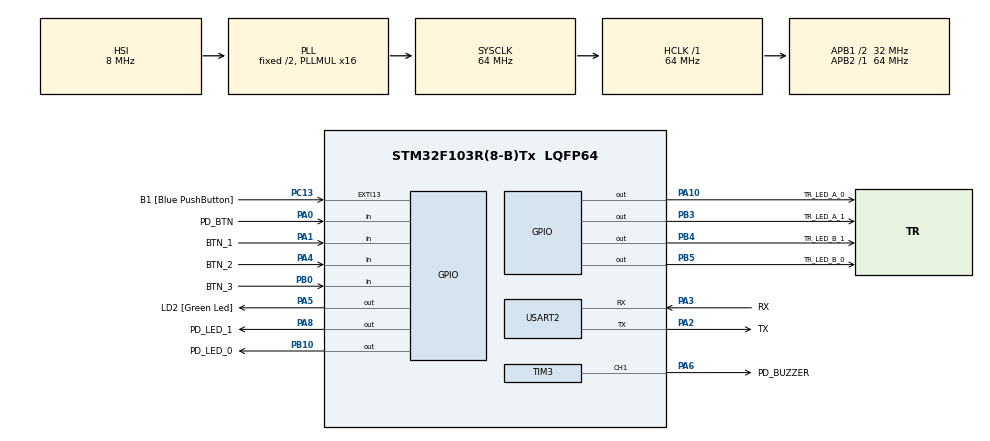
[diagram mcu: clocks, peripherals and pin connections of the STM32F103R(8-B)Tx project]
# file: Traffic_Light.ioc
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Mcu.Family=STM32F1
Mcu.Name=STM32F103R(8-B)Tx
Mcu.Package=LQFP64
NVIC.EXTI15_10_IRQn=true\:0\:0\:false\:false\:true\:true\:true
NVIC.PriorityGroup=NVIC_PRIORITYGROUP_4
NVIC.TIM2_IRQn=true\:0\:0\:false\:false\:true\:true\:true
PA0-WKUP.GPIO_Label=PD_BTN
PA0-WKUP.GPIO_PuPd=GPIO_PULLUP
PA0-WKUP.Signal=GPIO_Input
PA1.GPIO_Label=BTN_1
PA1.GPIO_PuPd=GPIO_PULLUP
PA1.Signal=GPIO_Input
PA10.GPIO_Label=TR_LED_A_0
PA10.Signal=GPIO_Output
PA13.GPIO_Label=TMS
PA13.Mode=Serial_Wire
PA13.Signal=SYS_JTMS-SWDIO
PA14.GPIO_Label=TCK
PA14.Mode=Serial_Wire
PA14.Signal=SYS_JTCK-SWCLK
PA2.GPIO_Label=TX
PA2.GPIO_Mode=GPIO_MODE_AF_PP
PA2.GPIO_PuPd=GPIO_NOPULL
PA2.GPIO_Speed=GPIO_SPEED_FREQ_LOW
PA2.Mode=Asynchronous
PA2.Signal=USART2_TX
PA3.GPIO_Label=RX
PA3.GPIO_Mode=GPIO_MODE_AF_PP
PA3.GPIO_PuPd=GPIO_NOPULL
PA3.GPIO_Speed=GPIO_SPEED_FREQ_LOW
PA3.Mode=Asynchronous
PA3.Signal=USART2_RX
PA4.GPIO_Label=BTN_2
PA4.GPIO_PuPd=GPIO_PULLUP
PA4.Signal=GPIO_Input
PA5.GPIO_Label=LD2 [Green Led]
PA5.GPIO_ModeDefaultOutputPP=GPIO_MODE_OUTPUT_PP
PA5.GPIO_PuPd=GPIO_NOPULL
PA5.GPIO_Speed=GPIO_SPEED_FREQ_LOW
PA5.Signal=GPIO_Output
PA6.GPIO_Label=PD_BUZZER
PA6.Signal=S_TIM3_CH1
PA8.GPIO_Label=PD_LED_1
PA8.Signal=GPIO_Output
PB0.GPIO_Label=BTN_3
PB0.GPIO_PuPd=GPIO_PULLUP
PB0.Signal=GPIO_Input
PB10.GPIO_Label=PD_LED_0
PB10.Signal=GPIO_Output
PB3.GPIO_Label=TR_LED_A_1
PB3.Signal=GPIO_Output
PB4.GPIO_Label=TR_LED_B_1
PB4.Signal=GPIO_Output
PB5.GPIO_Label=TR_LED_B_0
PB5.Signal=GPIO_Output
PC13-TAMPER-RTC.GPIO_Label=B1 [Blue PushButton]
PC13-TAMPER-RTC.GPIO_PuPd=GPIO_NOPULL
PC13-TAMPER-RTC.Signal=GPXTI13
PC14-OSC32_IN.Mode=LSE-External-Oscillator
PC14-OSC32_IN.Signal=RCC_OSC32_IN
PC15-OSC32_OUT.Mode=LSE-External-Oscillator
PC15-OSC32_OUT.Signal=RCC_OSC32_OUT
PD0-OSC_IN.Mode=HSE-External-Clock-Source
PD0-OSC_IN.Signal=RCC_OSC_IN
PD1-OSC_OUT.Mode=HSE-External-Clock-Source
PD1-OSC_OUT.Signal=RCC_OSC_OUT
ProjectManager.HeapSize=0x200
ProjectManager.StackSize=0x400
ProjectManager.TargetToolchain=STM32CubeIDE
RCC.AHBFreq_Value=64000000
RCC.APB1CLKDivider=RCC_HCLK_DIV2
RCC.APB1Freq_Value=32000000
RCC.APB1TimFreq_Value=64000000
RCC.APB2Freq_Value=64000000
RCC.APB2TimFreq_Value=64000000
RCC.HCLKFreq_Value=64000000
RCC.PLLMUL=RCC_PLL_MUL16
RCC.RTCClockSelection=RCC_RTCCLKSOURCE_LSE
RCC.SYSCLKFreq_VALUE=64000000
RCC.SYSCLKSource=RCC_SYSCLKSOURCE_PLLCLK
RCC.USBFreq_Value=64000000
SH.S_TIM3_CH1.0=TIM3_CH1,PWM Generation1 CH1
TIM2.Period=9999
TIM2.Prescaler=63
TIM3.Channel-PWM\ Generation1\ CH1=TIM_CHANNEL_1
TIM3.Period=999
TIM3.Prescaler=63
USART2.VirtualMode=VM_ASYNC
VP_TIM2_VS_ClockSourceINT.Mode=Internal
VP_TIM3_VS_ClockSourceINT.Mode=Internal
board=NUCLEO-F103RB

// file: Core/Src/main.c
/* USER CODE BEGIN Header */
/**
  ******************************************************************************
  * @file           : main.c
  * @brief          : Main program body
  ******************************************************************************
  * @attention
  *
  * <h2><center>&copy; Copyright (c) 2022 STMicroelectronics.
  * All rights reserved.</center></h2>
  *
  * This software component is licensed by ST under BSD 3-Clause license,
  * the "License"; You may not use this file except in compliance with the
  * License. You may obtain a copy of the License at:
  *                        opensource.org/licenses/BSD-3-Clause
  *
  ******************************************************************************
  */
/* USER CODE END Header */
#include "main.h"

/* USER CODE BEGIN Includes */
#include "u_global.h"
#include "u_test_IO.h"
#include "u_fsm_traffic.h"
#include "u_fsm_pedestrian.h"
/* USER CODE END Includes */

TIM_HandleTypeDef htim2;
//TIM_HandleTypeDef htim3;

//UART_HandleTypeDef huart2;

void SystemClock_Config(void);
static void MX_GPIO_Init(void);
static void MX_USART2_UART_Init(void);
static void MX_TIM2_Init(void);
static void MX_TIM3_Init(void);

int main(void)
{

  /* MCU Configuration--------------------------------------------------------*/

  /* Reset of all peripherals, Initializes the Flash interface and the Systick. */
  HAL_Init();

  /* Configure the system clock */
  SystemClock_Config();

  /* Initialize all configured peripherals */
  MX_GPIO_Init();
  MX_USART2_UART_Init();
  MX_TIM2_Init();
  MX_TIM3_Init();
  /* USER CODE BEGIN 2 */
  HAL_TIM_Base_Start_IT(&htim2);
  HAL_TIM_PWM_Start(&htim3, TIM_CHANNEL_1);
  timer_init();
  traffic_init();
  pedestrian_init();
  /* USER CODE END 2 */

  /* Infinite loop */
  while (1)
  {

    /* USER CODE BEGIN 3 */
	  traffic_fsm();
	  pedestrian_fsm();
//	  test_button();
  }
  /* USER CODE END 3 */
}

void SystemClock_Config(void)
{
  RCC_OscInitTypeDef RCC_OscInitStruct = {0};
  RCC_ClkInitTypeDef RCC_ClkInitStruct = {0};

  /** Initializes the RCC Oscillators according to the specified parameters
  * in the RCC_OscInitTypeDef structure.
  */
  RCC_OscInitStruct.OscillatorType = RCC_OSCILLATORTYPE_HSI;
  RCC_OscInitStruct.HSIState = RCC_HSI_ON;
  RCC_OscInitStruct.HSICalibrationValue = RCC_HSICALIBRATION_DEFAULT;
  RCC_OscInitStruct.PLL.PLLState = RCC_PLL_ON;
  RCC_OscInitStruct.PLL.PLLSource = RCC_PLLSOURCE_HSI_DIV2;
  RCC_OscInitStruct.PLL.PLLMUL = RCC_PLL_MUL16;
  if (HAL_RCC_OscConfig(&RCC_OscInitStruct) != HAL_OK)
  {
    Error_Handler();
  }
  /** Initializes the CPU, AHB and APB buses clocks
  */
  RCC_ClkInitStruct.ClockType = RCC_CLOCKTYPE_HCLK|RCC_CLOCKTYPE_SYSCLK
                              |RCC_CLOCKTYPE_PCLK1|RCC_CLOCKTYPE_PCLK2;
  RCC_ClkInitStruct.SYSCLKSource = RCC_SYSCLKSOURCE_PLLCLK;
  RCC_ClkInitStruct.AHBCLKDivider = RCC_SYSCLK_DIV1;
  RCC_ClkInitStruct.APB1CLKDivider = RCC_HCLK_DIV2;
  RCC_ClkInitStruct.APB2CLKDivider = RCC_HCLK_DIV1;

  if (HAL_RCC_ClockConfig(&RCC_ClkInitStruct, FLASH_LATENCY_2) != HAL_OK)
  {
    Error_Handler();
  }
}

static void MX_TIM2_Init(void)
{

  TIM_ClockConfigTypeDef sClockSourceConfig = {0};
  TIM_MasterConfigTypeDef sMasterConfig = {0};

  htim2.Instance = TIM2;
  htim2.Init.Prescaler = 63;
  htim2.Init.CounterMode = TIM_COUNTERMODE_UP;
  htim2.Init.Period = 9999;
  htim2.Init.ClockDivision = TIM_CLOCKDIVISION_DIV1;
  htim2.Init.AutoReloadPreload = TIM_AUTORELOAD_PRELOAD_DISABLE;
  if (HAL_TIM_Base_Init(&htim2) != HAL_OK)
  {
    Error_Handler();
  }
  sClockSourceConfig.ClockSource = TIM_CLOCKSOURCE_INTERNAL;
  if (HAL_TIM_ConfigClockSource(&htim2, &sClockSourceConfig) != HAL_OK)
  {
    Error_Handler();
  }
  sMasterConfig.MasterOutputTrigger = TIM_TRGO_RESET;
  sMasterConfig.MasterSlaveMode = TIM_MASTERSLAVEMODE_DISABLE;
  if (HAL_TIMEx_MasterConfigSynchronization(&htim2, &sMasterConfig) != HAL_OK)
  {
    Error_Handler();
  }

}

static void MX_TIM3_Init(void)
{

  TIM_ClockConfigTypeDef sClockSourceConfig = {0};
  TIM_MasterConfigTypeDef sMasterConfig = {0};
  TIM_OC_InitTypeDef sConfigOC = {0};

  htim3.Instance = TIM3;
  htim3.Init.Prescaler = 63;
  htim3.Init.CounterMode = TIM_COUNTERMODE_UP;
  htim3.Init.Period = 999;
  htim3.Init.ClockDivision = TIM_CLOCKDIVISION_DIV1;
  htim3.Init.AutoReloadPreload = TIM_AUTORELOAD_PRELOAD_DISABLE;
  if (HAL_TIM_Base_Init(&htim3) != HAL_OK)
  {
    Error_Handler();
  }
  sClockSourceConfig.ClockSource = TIM_CLOCKSOURCE_INTERNAL;
  if (HAL_TIM_ConfigClockSource(&htim3, &sClockSourceConfig) != HAL_OK)
  {
    Error_Handler();
  }
  if (HAL_TIM_PWM_Init(&htim3) != HAL_OK)
  {
    Error_Handler();
  }
  sMasterConfig.MasterOutputTrigger = TIM_TRGO_RESET;
  sMasterConfig.MasterSlaveMode = TIM_MASTERSLAVEMODE_DISABLE;
  if (HAL_TIMEx_MasterConfigSynchronization(&htim3, &sMasterConfig) != HAL_OK)
  {
    Error_Handler();
  }
  sConfigOC.OCMode = TIM_OCMODE_PWM1;
  sConfigOC.Pulse = 0;
  sConfigOC.OCPolarity = TIM_OCPOLARITY_HIGH;
  sConfigOC.OCFastMode = TIM_OCFAST_DISABLE;
  if (HAL_TIM_PWM_ConfigChannel(&htim3, &sConfigOC, TIM_CHANNEL_1) != HAL_OK)
  {
    Error_Handler();
  }
  HAL_TIM_MspPostInit(&htim3);

}

static void MX_USART2_UART_Init(void)
{

  huart2.Instance = USART2;
  huart2.Init.BaudRate = 115200;
  huart2.Init.WordLength = UART_WORDLENGTH_8B;
  huart2.Init.StopBits = UART_STOPBITS_1;
  huart2.Init.Parity = UART_PARITY_NONE;
  huart2.Init.Mode = UART_MODE_TX_RX;
  huart2.Init.HwFlowCtl = UART_HWCONTROL_NONE;
  huart2.Init.OverSampling = UART_OVERSAMPLING_16;
  if (HAL_UART_Init(&huart2) != HAL_OK)
  {
    Error_Handler();
  }

}

static void MX_GPIO_Init(void)
{
  GPIO_InitTypeDef GPIO_InitStruct = {0};

  /* GPIO Ports Clock Enable */
  __HAL_RCC_GPIOC_CLK_ENABLE();
  __HAL_RCC_GPIOD_CLK_ENABLE();
  __HAL_RCC_GPIOA_CLK_ENABLE();
  __HAL_RCC_GPIOB_CLK_ENABLE();

  /*Configure GPIO pin Output Level */
  HAL_GPIO_WritePin(GPIOA, LD2_Pin|PD_LED_1_Pin|TR_LED_A_0_Pin, GPIO_PIN_RESET);

  /*Configure GPIO pin Output Level */
  HAL_GPIO_WritePin(GPIOB, PD_LED_0_Pin|TR_LED_A_1_Pin|TR_LED_B_1_Pin|TR_LED_B_0_Pin, GPIO_PIN_RESET);

  /*Configure GPIO pin : B1_Pin */
  GPIO_InitStruct.Pin = B1_Pin;
  GPIO_InitStruct.Mode = GPIO_MODE_IT_RISING;
  GPIO_InitStruct.Pull = GPIO_NOPULL;
  HAL_GPIO_Init(B1_GPIO_Port, &GPIO_InitStruct);

  /*Configure GPIO pins : PD_BTN_Pin BTN_1_Pin BTN_2_Pin */
  GPIO_InitStruct.Pin = PD_BTN_Pin|BTN_1_Pin|BTN_2_Pin;
  GPIO_InitStruct.Mode = GPIO_MODE_INPUT;
  GPIO_InitStruct.Pull = GPIO_PULLUP;
  HAL_GPIO_Init(GPIOA, &GPIO_InitStruct);

  /*Configure GPIO pins : LD2_Pin PD_LED_1_Pin TR_LED_A_0_Pin */
  GPIO_InitStruct.Pin = LD2_Pin|PD_LED_1_Pin|TR_LED_A_0_Pin;
  GPIO_InitStruct.Mode = GPIO_MODE_OUTPUT_PP;
  GPIO_InitStruct.Pull = GPIO_NOPULL;
  GPIO_InitStruct.Speed = GPIO_SPEED_FREQ_LOW;
  HAL_GPIO_Init(GPIOA, &GPIO_InitStruct);

  /*Configure GPIO pin : BTN_3_Pin */
  GPIO_InitStruct.Pin = BTN_3_Pin;
  GPIO_InitStruct.Mode = GPIO_MODE_INPUT;
  GPIO_InitStruct.Pull = GPIO_PULLUP;
  HAL_GPIO_Init(BTN_3_GPIO_Port, &GPIO_InitStruct);

  /*Configure GPIO pins : PD_LED_0_Pin TR_LED_A_1_Pin TR_LED_B_1_Pin TR_LED_B_0_Pin */
  GPIO_InitStruct.Pin = PD_LED_0_Pin|TR_LED_A_1_Pin|TR_LED_B_1_Pin|TR_LED_B_0_Pin;
  GPIO_InitStruct.Mode = GPIO_MODE_OUTPUT_PP;
  GPIO_InitStruct.Pull = GPIO_NOPULL;
  GPIO_InitStruct.Speed = GPIO_SPEED_FREQ_LOW;
  HAL_GPIO_Init(GPIOB, &GPIO_InitStruct);

  /* EXTI interrupt init*/
  HAL_NVIC_SetPriority(EXTI15_10_IRQn, 0, 0);
  HAL_NVIC_EnableIRQ(EXTI15_10_IRQn);

}

/* USER CODE BEGIN 4 */
void HAL_TIM_PeriodElapsedCallback(TIM_HandleTypeDef *htim){
	timer_run();
	button_reading();
	duration_run();
}
/* USER CODE END 4 */

void Error_Handler(void)
{
  __disable_irq();
  while (1)
  {
  }
}

/************************ (C) COPYRIGHT STMicroelectronics *****END OF FILE****/
